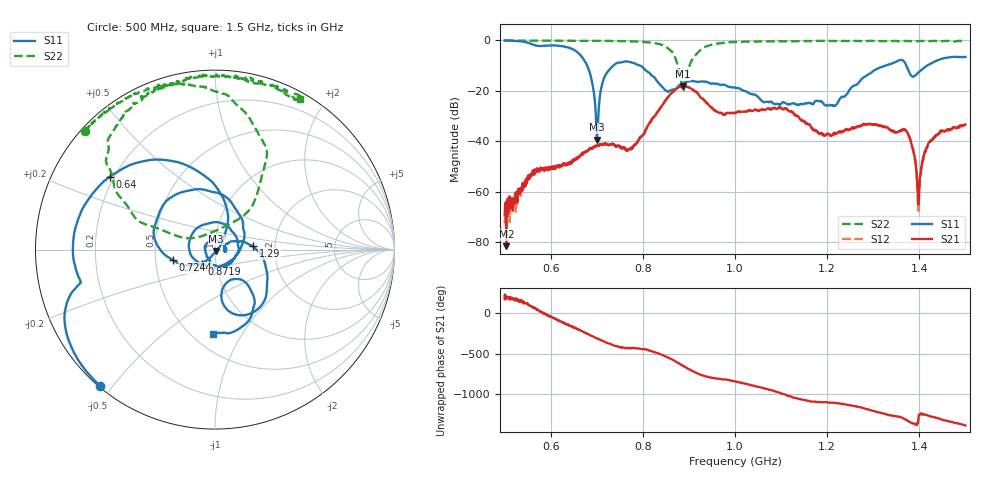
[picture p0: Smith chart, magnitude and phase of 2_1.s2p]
!Agilent Technologies,E8364B,US42250235,A.06.04.32
!Agilent E8364B: A.06.04.32
!Date: Friday, January 15, 2021 14:29:24
!Correction: S11(Full 2 Port(1,2)) S21(Full 2 Port(1,2)) S12(Full 2 Port(1,2)) S22(Full 2 Port(1,2))
!S2P File: Measurements: S11, S21, S12, S22:
# Hz S  dB  R 50
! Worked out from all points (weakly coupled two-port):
!   1601 points, 500 MHz to 1.5 GHz, reference 50 ohm
!   highest |S21| = -18.16 dB at 886.2 MHz (marker M1); lowest = -81.5 dB at 503.8 MHz (marker M2)
!   lowest |S11| = -39.3 dB at 700.6 MHz (marker M3), VSWR 1.02, Z = 50.7 - j0.817 ohm
!   |S11| at or under -10 dB: 679.1 MHz to 736 MHz (56.82 MHz wide, 8.03 % of centre); 793.7 MHz to 1.327 GHz (533.5 MHz wide, 50.3 % of centre); 1.372 GHz to 1.417 GHz (45.17 MHz wide, 3.24 % of centre)
!   |S22| runs from -20.4 to -0.1 dB; largest |S21 - S12| = 0.003
!   S11 on the Smith chart (normalised r, x): 500 MHz: 0.00, -0.47; 640 MHz: 0.18, +0.30; 724.4 MHz: 0.61, -0.08; 871.9 MHz: 0.86, -0.14; 1.29 GHz: 1.54, +0.06; 1.5 GHz: 0.63, -0.75
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5e8  -0.06 -130.1  -68.92 176.9  -71.52 -151.1  -0.14 137.6
5.0375e8  -0.07 -131.8  -81.55 -161.5  -68.26 -110.8  -0.15 137.2
5.6625e8  -1.98 -165.0  -51.23 59.2  -52.06 60.6  -0.17 131.6
6.4e8  -2.96 145.1  -48.39 -147.1  -49.00 -148.3  -0.18 123.9
6.66875e8  -6.38 106.6  -44.87 142.3  -45.12 138.5  -0.18 120.5
6.8625e8  -13.70 69.5  -42.94 86.4  -42.88 86.4  -0.23 118.5
7.00625e8  -39.32 -48.2  -42.03 47.9  -41.70 47.9  -0.20 117.3
7.24375e8  -12.29 -166.2  -41.39 -12.2  -41.34 -11.6  -0.27 113.1
7.75e8  -8.76 117.2  -42.68 -74.4  -42.59 -69.9  -0.46 103.9
8.3375e8  -16.84 3.6  -27.94 -139.6  -27.72 -139.2  -1.34 84.8
8.71875e8  -19.24 -131.1  -19.32 119.2  -19.23 119.3  -7.72 54.1
8.8625e8  -16.97 -176.5  -18.16 69.3  -18.03 69.6  -19.85 92.2
9.2375e8  -16.39 95.6  -22.28 -40.7  -22.11 -40.5  -4.02 150.0
1e9  -18.76 -41.2  -28.91 -127.0  -28.64 -126.9  -0.69 119.2
1.1075e9  -24.66 150.9  -27.12 72.6  -27.17 69.1  -0.39 104.3
1.166875e9  -25.14 10.3  -34.71 -19.8  -34.89 -18.5  -0.30 96.4
1.29e9  -13.46 5.0  -33.19 -117.6  -33.39 -119.6  -0.24 82.7
1.33375e9  -9.57 -28.3  -34.99 174.1  -35.25 172.6  -0.30 78.3
1.375e9  -11.37 -82.3  -36.91 100.4  -36.94 98.4  -0.31 75.3
1.39875e9  -12.59 -47.9  -60.63 159.7  -63.75 153.6  -0.35 71.8
1.424375e9  -9.26 -51.0  -39.96 156.9  -40.23 158.7  -0.32 69.8
1.5e9  -6.59 -91.6  -33.35 44.4  -33.85 41.4  -0.35 60.6
